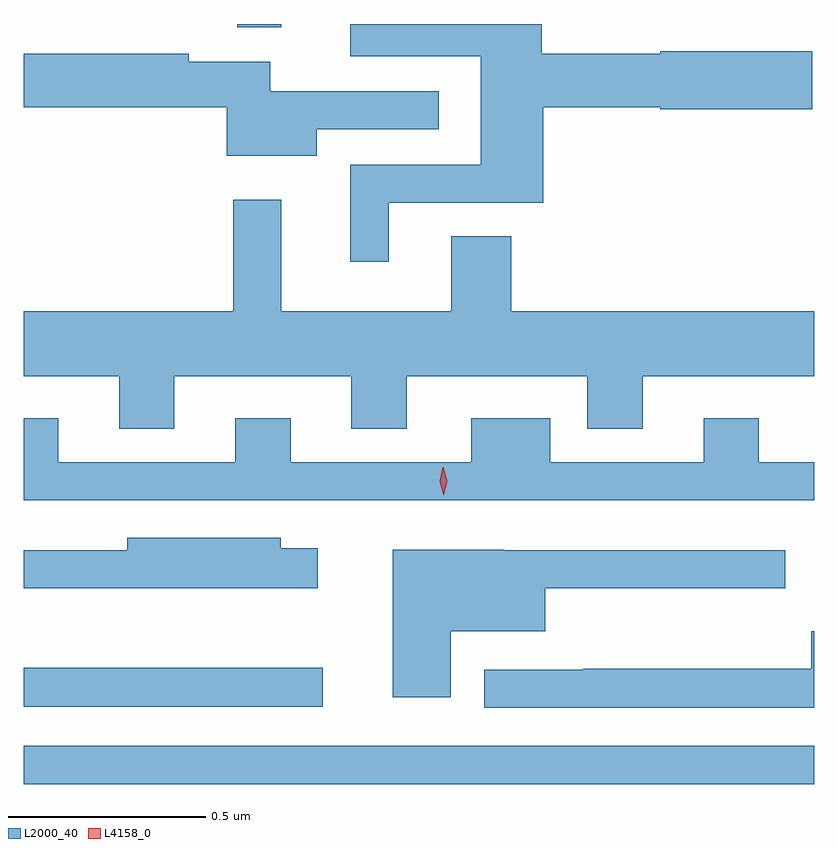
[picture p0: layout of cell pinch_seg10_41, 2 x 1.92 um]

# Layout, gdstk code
import gdstk
lib = gdstk.Library(unit=1e-6, precision=1e-09)
def R(c, l, rs):  # rectangles x0, y0, x1, y1
    for r in rs: c.add(gdstk.rectangle(r[:2], r[2:], *l))
def P(c, l, *ps):  # polygons
    for p in ps: c.add(gdstk.Polygon(p, *l))
L2000_40 = (2000, 40)
L4158_0 = (4158, 0)

pinch_seg10_41 = lib.new_cell('pinch_seg10_41')
R(pinch_seg10_41, L2000_40, [(898.78,1287.296,900.78,1287.393), (898.78,1287.492,899.536,1287.59), (899.32,1289.211,899.431,1289.219)])
P(pinch_seg10_41, L2000_40, [(899.704,1288.767),(900.095,1288.767),(900.095,1289.008),(900.39,1289.008),(900.39,1289.003),(900.775,1289.003),(900.775,1289.15),(900.39,1289.15),(900.39,1289.144),(900.09,1289.144),(900.09,1289.219),(899.606,1289.219),(899.606,1289.138),(899.936,1289.138),(899.936,1288.863),(899.606,1288.863),(899.606,1288.617),(899.704,1288.617)],
  [(899.521,1288.953),(899.83,1288.953),(899.83,1289.049),(899.404,1289.049),(899.404,1289.124),(899.198,1289.124),(899.198,1289.144),(898.78,1289.144),(898.78,1289.008),(899.294,1289.008),(899.294,1288.886),(899.521,1288.886)],
  [(899.161,1288.328),(899.609,1288.328),(899.609,1288.195),(899.749,1288.195),(899.749,1288.328),(900.206,1288.328),(900.206,1288.195),(900.346,1288.195),(900.346,1288.328),(900.78,1288.328),(900.78,1288.492),(900.014,1288.492),(900.014,1288.682),(899.861,1288.682),(899.861,1288.492),(899.431,1288.492),(899.431,1288.774),(899.31,1288.774),(899.31,1288.492),(898.78,1288.492),(898.78,1288.328),(899.021,1288.328),(899.021,1288.195),(899.161,1288.195)],
  [(900.78,1288.11),(900.64,1288.11),(900.64,1288.222),(900.5,1288.222),(900.5,1288.11),(900.112,1288.11),(900.112,1288.222),(899.912,1288.222),(899.912,1288.11),(899.455,1288.11),(899.455,1288.222),(899.315,1288.222),(899.315,1288.11),(898.867,1288.11),(898.867,1288.222),(898.78,1288.222),(898.78,1288.014),(900.78,1288.014)],
  [(899.524,1287.892),(899.43,1287.892),(899.43,1287.919),(899.042,1287.919),(899.042,1287.888),(898.78,1287.888),(898.78,1287.791),(899.524,1287.791)],
  [(899.86,1287.683),(900.1,1287.683),(900.1,1287.791),(900.707,1287.791),(900.707,1287.887),(900.596,1287.887),(900.596,1287.888),(899.996,1287.888),(899.996,1287.889),(899.714,1287.889),(899.714,1287.516),(899.86,1287.516)],
  [(900.78,1287.682),(900.772,1287.682),(900.772,1287.587),(900.196,1287.587),(900.196,1287.585),(899.945,1287.585),(899.945,1287.489),(900.78,1287.489)])
P(pinch_seg10_41, L4158_0, [(899.843,1288.027),(899.843,1288.027),(899.832,1288.062),(899.84,1288.097),(899.84,1288.097),(899.841,1288.097),(899.852,1288.062),(899.843,1288.027)])

lib.write_gds('pinch_seg10_41.gds')
